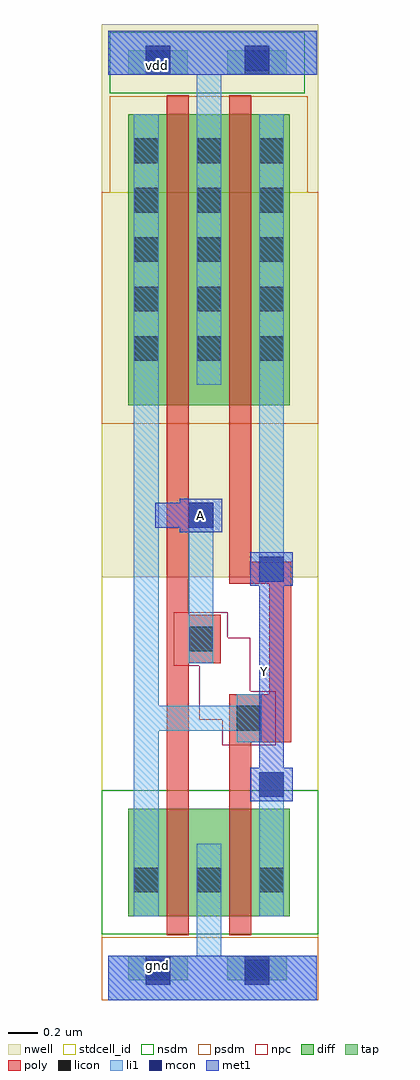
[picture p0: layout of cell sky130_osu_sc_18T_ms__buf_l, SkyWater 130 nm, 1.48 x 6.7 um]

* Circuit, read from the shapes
.subckt sky130_osu_sc_18T_ms__buf_l A Y gnd vdd
XM1 gnd A n1 gnd sky130_fd_pr__nfet_01v8 w=0.74 l=0.15
XM2 Y n1 gnd gnd sky130_fd_pr__nfet_01v8 w=0.74 l=0.15
XM3 vdd A n1 vdd sky130_fd_pr__pfet_01v8 w=2 l=0.15
XM4 Y n1 vdd vdd sky130_fd_pr__pfet_01v8 w=2 l=0.15
.ends

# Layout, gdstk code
import gdstk
lib = gdstk.Library(unit=1e-6, precision=1e-09)
def R(c, l, rs):  # rectangles x0, y0, x1, y1
    for r in rs: c.add(gdstk.rectangle(r[:2], r[2:], *l))
def A(c, l, x, y, w, h, nx, ny, dx, dy):  # array of equal rectangles
    R(c, l, [(x+i*dx, y+j*dy, x+i*dx+w, y+j*dy+h) for i in range(nx) for j in range(ny)])
nwell = (64, 20)
diff = (65, 20)
tap = (65, 44)
poly = (66, 20)
licon = (66, 44)
li1 = (67, 20)
mcon = (67, 44)
met1 = (68, 20)
stdcell_id = (81, 4)
nsdm = (93, 44)
psdm = (94, 20)
npc = (95, 20)

sky130_osu_sc_18t_ms__bu = lib.new_cell('sky130_osu_sc_18T_ms__buf_l')
R(sky130_osu_sc_18t_ms__bu, nwell, [(-0.045,2.905,1.44,6.705)])
R(sky130_osu_sc_18t_ms__bu, diff, [(0.135,0.575,1.245,1.315), (0.135,4.085,1.245,6.085)])
R(sky130_osu_sc_18t_ms__bu, tap, [(0.135,0.135,0.545,0.305), (0.815,0.135,1.225,0.305), (0.135,6.355,0.545,6.525), (0.815,6.355,1.225,6.525)])
R(sky130_osu_sc_18t_ms__bu, poly, [(0.4,0.445,0.55,2.315), (0.83,0.445,0.98,1.77), (0.83,1.77,1.255,2.1), (1.105,2.1,1.255,2.86), (0.4,2.315,0.77,2.645), (0.4,2.645,0.55,6.215), (0.83,2.86,1.255,3.01), (0.83,3.01,0.98,6.215)])
A(sky130_osu_sc_18t_ms__bu, licon, 0.175, 0.74, 0.17, 0.17, 3, 2, 0.43, 3.65)
A(sky130_osu_sc_18t_ms__bu, licon, 0.175, 4.73, 0.17, 0.17, 3, 4, 0.43, 0.34)
R(sky130_osu_sc_18t_ms__bu, licon, [(0.255,0.135,0.425,0.305), (0.935,0.135,1.105,0.305), (0.88,1.85,1.05,2.02), (0.55,2.395,0.72,2.565), (0.255,6.355,0.425,6.525), (0.935,6.355,1.105,6.525)])
R(sky130_osu_sc_18t_ms__bu, li1, [(0,0,1.43,0.305), (0.605,0.305,0.775,1.075), (0.175,0.575,0.345,1.85), (1.035,0.575,1.205,1.565), (0.88,1.77,1.05,1.85), (0.175,1.85,1.05,2.02), (0.175,2.02,0.345,6.085), (0.88,2.02,1.05,2.1), (0.55,2.315,0.72,3.415), (1.035,2.875,1.205,6.085), (0.605,4.225,0.775,6.355), (0,6.355,1.43,6.66)])
R(sky130_osu_sc_18t_ms__bu, mcon, [(0.255,0.105,0.425,0.275), (0.935,0.105,1.105,0.275), (1.035,1.395,1.205,1.565), (1.035,2.875,1.205,3.045), (0.55,3.245,0.72,3.415), (0.255,6.385,0.425,6.555), (0.935,6.385,1.105,6.555)])
R(sky130_osu_sc_18t_ms__bu, met1, [(0,0,1.43,0.305), (0.975,1.365,1.265,1.595), (1.035,1.595,1.205,2.845), (0.975,2.845,1.265,3.075), (0.49,3.215,0.78,3.245), (0.32,3.245,0.78,3.415), (0.49,3.415,0.78,3.445), (0,6.355,1.43,6.66)])
R(sky130_osu_sc_18t_ms__bu, stdcell_id, [(-0.045,0,1.44,5.55)])
R(sky130_osu_sc_18t_ms__bu, nsdm, [(-0.045,0.45,1.44,1.44), (0.01,6.23,1.35,6.65)])
R(sky130_osu_sc_18t_ms__bu, psdm, [(-0.045,0,1.44,0.43), (-0.045,3.96,1.44,5.55), (0.01,5.55,1.37,6.21)])
R(sky130_osu_sc_18t_ms__bu, npc, [(0.78,1.75,1.15,1.925), (0.625,1.925,1.15,2.12), (0.625,2.12,0.975,2.295), (0.45,2.295,0.975,2.49), (0.45,2.49,0.82,2.665)])
sky130_osu_sc_18t_ms__bu.add(gdstk.Label('gnd', (0.34,0.24), layer=68, texttype=16))
sky130_osu_sc_18t_ms__bu.add(gdstk.Label('vdd', (0.34,6.42), layer=68, texttype=16))
sky130_osu_sc_18t_ms__bu.add(gdstk.Label('A', (0.635,3.33), layer=68, texttype=5))
sky130_osu_sc_18t_ms__bu.add(gdstk.Label('Y', (1.07,2.26), layer=68, texttype=5))

lib.write_gds('sky130_osu_sc_18T_ms__buf_l.gds')
